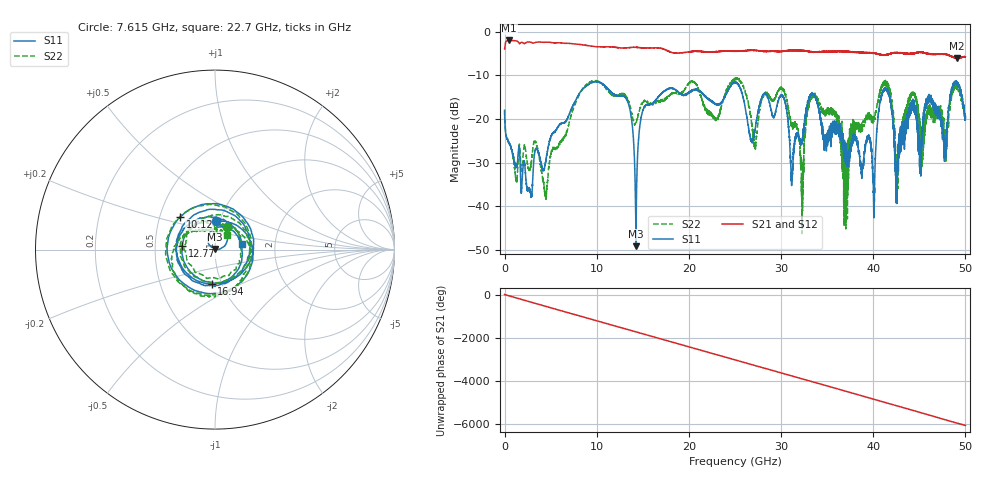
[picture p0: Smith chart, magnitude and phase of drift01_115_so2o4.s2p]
!Created with skrf (http://scikit-rf.org).
# Hz S RI R 50.0
!freq ReS11 ImS11 ReS21 ImS21 ReS12 ImS12 ReS22 ImS22
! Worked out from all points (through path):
!   10001 points, 300 kHz to 50 GHz, reference 50 ohm
!   highest |S21| = -2.00 dB at 490.3 MHz (marker M1); lowest = -6.1 dB at 49.05 GHz (marker M2)
!   group delay of S21, straight-line fit = 336 ps
!   lowest |S11| = -49.2 dB at 14.25 GHz (marker M3), VSWR 1.01, Z = 50.1 + j0.336 ohm
!   |S11| at or under -10 dB: start of sweep to end of sweep
!   |S22| runs from -46.3 to -10.5 dB; largest |S21 - S12| = 0.023
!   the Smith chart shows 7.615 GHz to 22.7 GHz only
!   S11 on the Smith chart (normalised r, x): 7.615 GHz: 0.96, +0.31; 10.12 GHz: 0.64, +0.25; 12.77 GHz: 0.69, +0.03; 16.94 GHz: 0.90, -0.35; 22.7 GHz: 1.35, +0.09
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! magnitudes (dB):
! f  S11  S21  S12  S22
! 300 kHz  -18.2  -4.0  -4.0  -17.9
! 490.3 MHz  -25.5  -2.0  -2.0  -25.5
! 4.44 GHz  -30.0  -2.4  -2.4  -37.9
! 7.615 GHz  -16.1  -2.8  -2.8  -16.8
! 8.335 GHz  -13.5  -3.0  -3.0  -13.5
! 10.12 GHz  -11.5  -3.4  -3.4  -11.4
! 12.77 GHz  -14.7  -3.7  -3.7  -14.4
! 14.25 GHz  -49.2  -3.6  -3.6  -21.2
! 16.67 GHz  -14.9  -3.7  -3.7  -15.8
! 16.94 GHz  -14.4  -3.8  -3.8  -15.7
! 22.7 GHz  -16.3  -4.6  -4.6  -19.3
! 25 GHz  -11.6  -4.5  -4.5  -11.0
! 27.15 GHz  -22.5  -4.2  -4.3  -26.1
! 30.22 GHz  -14.8  -4.5  -4.5  -13.4
! 32.27 GHz  -25.1  -4.3  -4.3  -39.6
! 33.34 GHz  -14.2  -4.6  -4.6  -14.4
! 37.02 GHz  -26.8  -4.5  -4.5  -39.8
! 40.06 GHz  -40.7  -4.9  -5.0  -19.6
! 41.67 GHz  -14.1  -5.1  -5.1  -12.8
! 42.57 GHz  -32.6  -4.8  -4.8  -31.4
! 49.05 GHz  -11.6  -6.1  -6.0  -12.5
! 50 GHz  -19.4  -5.7  -5.7  -19.5
